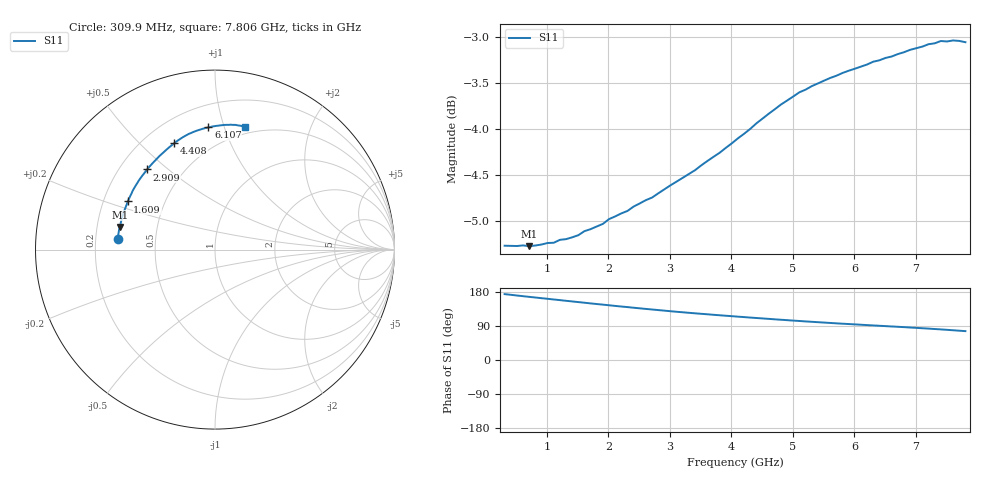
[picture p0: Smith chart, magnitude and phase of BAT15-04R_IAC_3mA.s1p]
! Infineon Technologies  Discrete & RF Semiconductors
! BAT15-04R
! IAC = 3 mA
! One-Port S-Parameters
# Hz  S  MA  R  50
!f  S11
!Hz  Mag  Ang
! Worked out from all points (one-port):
!   76 points, 309.9 MHz to 7.806 GHz, reference 50 ohm
!   lowest |S11| = -5.3 dB at 709.6 MHz (marker M1), VSWR 3.40, Z = 14.9 + j5.35 ohm
!   |S11| at or under -10 dB: nowhere
!   S11 on the Smith chart (normalised r, x): 309.9 MHz: 0.29, +0.05; 1.609 GHz: 0.30, +0.24; 2.909 GHz: 0.31, +0.43; 4.408 GHz: 0.32, +0.64; 6.107 GHz: 0.35, +0.89; 7.806 GHz: 0.44, +1.18
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3.0985e8  0.5454 173.9
6.097e8  0.5456 168.4
7.0965e8  0.5451 166.6
1.0095e9  0.5473 161.5
1.30935e9  0.5499 156.2
1.6092e9  0.5554 151.1
2.009e9  0.5638 144.5
2.2089e9  0.5679 141.1
2.30885e9  0.5696 139.6
2.4088e9  0.5727 137.9
2.6087e9  0.5774 134.8
2.90855e9  0.5852 130.3
3.2084e9  0.5937 125.9
3.70815e9  0.6094 119.3
4.10795e9  0.6237 114.4
4.4078e9  0.6355 110.8
4.70765e9  0.6468 107.3
5.0075e9  0.6571 104.0
5.30735e9  0.6656 100.8
5.50725e9  0.6702 98.8
6.007e9  0.6802 94.0
6.10695e9  0.682 93.1
6.30685e9  0.6862 91.2
6.90655e9  0.6964 85.8
7.2064e9  0.7013 82.8
7.4063e9  0.7041 80.7
7.6062e9  0.7046 78.5
7.8061e9  0.7031 76.2
